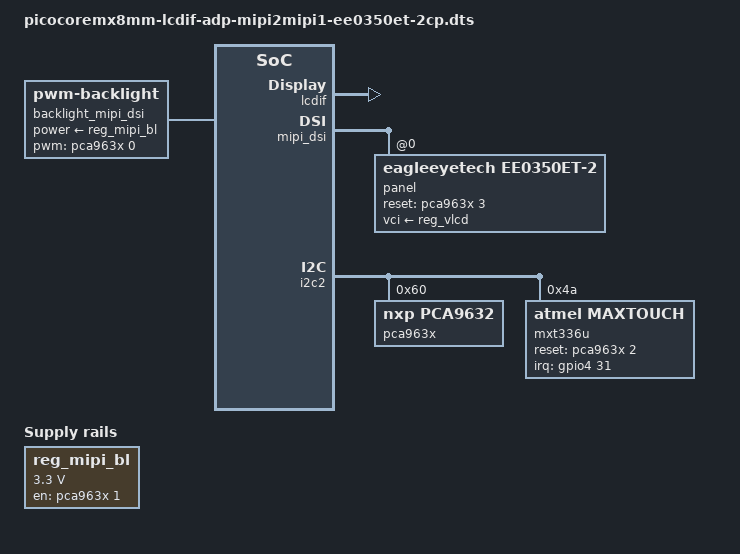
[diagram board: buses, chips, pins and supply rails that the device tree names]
/*
* Copyright (C) 2019 F&S Elektronik Systeme GmbH
*
* This program is free software; you can redistribute it and/or modify
* it under the terms of the GNU General Public License version 2 as
* published by the Free Software Foundation.
*/

#define CONFIG_PICOCOREMX8MM_MIPI_DSI
#include "picocoremx8mm.dts"

/ {
	regulators {
		/* BL_ON on adapter board MIPI2MIPI1 */
		reg_mipi_bl: backlight_mipi {
			compatible = "regulator-fixed";
			regulator-name = "mipi-bl";
			gpio = <&pca963x 1 0>;
			regulator-min-microvolt = <3300000>;
			regulator-max-microvolt = <3300000>;
			enable-active-high;
		};
	};

	/* MIPI-DSI backlight PWM on adapter MIPI2MIPI1 */
	backlight_mipi_dsi {
		compatible = "pwm-backlight";
		pwms = <&pca963x 0 640000 0>; /* 1.5625 kHz */
		power-supply = <&reg_mipi_bl>;
		brightness-levels = <0 30 32 35 39 46 55 66
				     80 96 115 137 162 190 221 255>;
		default-brightness-level = <14>;
		fb-names = "mipi_dsi";
	};
};

&lcdif {
	status = "okay";
};

&mipi_dsi {
	status = "okay";

	panel@0 {
		compatible = "eagleeyetech,ee0350et-2";
		reg = <0>;
		reset-gpios = <&pca963x 3 GPIO_ACTIVE_HIGH>;
		vci-supply = <&reg_vlcd>;
		status = "okay";
	};
};

&i2c2 {
	/* LED-driver on adapter board MIPI2MIPI1 */
	pca963x: pca9632@60 { /* LED-driver */
		compatible = "nxp,pca9632";
		reg = <0x60>;
		nxp,totem-pole;
		#address-cells = <1>;
		#size-cells = <0>;
		#pwm-cells = <3>;
		#gpio-cells = <2>;
		led@0 {
			reg = <0>;
			label = "1-LEDCTRL";
			type = "PWM";
			default-on;		/* or: keep-value */
			active-low;
		};
		led@1 {
			reg = <1>;
			label = "0-PWRCTL";
			type = "GPIO";
			default-on;		/* or: keep-value */
			active-high;
		};
		led@2 {
			reg = <2>;
			label = "2-TOUCH-RST";
			type = "GPIO";
			active-low;
		};
		led@3 {
			reg = <3>;
			label = "2-MIPI-RST";
			type = "GPIO";
			active-low;
		};
	};

	/* Atmel PCAP touch on Touch Connector (I2C) */
	mxt336u@4a {
		compatible = "atmel,maxtouch";
		reg = <0x4a>;
		interrupt-parent = <&gpio4>;
		interrupts = <31 IRQ_TYPE_EDGE_FALLING>;
		atmel,cfg_name = "atmel/mxt336u-gloves.cfg";
		reset-gpios = <&pca963x 2 GPIO_ACTIVE_HIGH>;
	};
};
